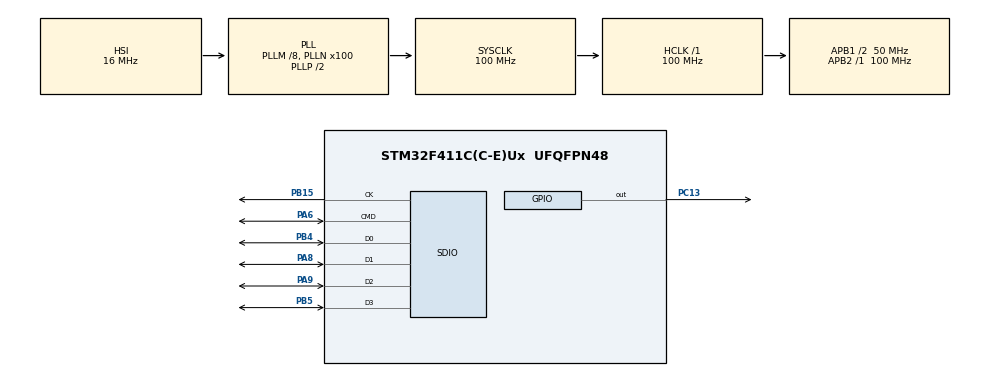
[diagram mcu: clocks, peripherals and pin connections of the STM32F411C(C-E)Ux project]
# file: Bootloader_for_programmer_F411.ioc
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Dma.Request0=SDIO_RX
Dma.Request1=SDIO_TX
Dma.SDIO_RX.0.Direction=DMA_PERIPH_TO_MEMORY
Dma.SDIO_RX.0.FIFOMode=DMA_FIFOMODE_ENABLE
Dma.SDIO_RX.0.FIFOThreshold=DMA_FIFO_THRESHOLD_FULL
Dma.SDIO_RX.0.Instance=DMA2_Stream3
Dma.SDIO_RX.0.MemBurst=DMA_MBURST_INC4
Dma.SDIO_RX.0.MemDataAlignment=DMA_MDATAALIGN_WORD
Dma.SDIO_RX.0.MemInc=DMA_MINC_ENABLE
Dma.SDIO_RX.0.Mode=DMA_PFCTRL
Dma.SDIO_RX.0.PeriphBurst=DMA_PBURST_INC4
Dma.SDIO_RX.0.PeriphDataAlignment=DMA_PDATAALIGN_WORD
Dma.SDIO_RX.0.PeriphInc=DMA_PINC_DISABLE
Dma.SDIO_RX.0.Priority=DMA_PRIORITY_HIGH
Dma.SDIO_TX.1.Direction=DMA_MEMORY_TO_PERIPH
Dma.SDIO_TX.1.FIFOMode=DMA_FIFOMODE_ENABLE
Dma.SDIO_TX.1.FIFOThreshold=DMA_FIFO_THRESHOLD_FULL
Dma.SDIO_TX.1.Instance=DMA2_Stream6
Dma.SDIO_TX.1.MemBurst=DMA_MBURST_INC4
Dma.SDIO_TX.1.MemDataAlignment=DMA_MDATAALIGN_WORD
Dma.SDIO_TX.1.MemInc=DMA_MINC_ENABLE
Dma.SDIO_TX.1.Mode=DMA_PFCTRL
Dma.SDIO_TX.1.PeriphBurst=DMA_PBURST_INC4
Dma.SDIO_TX.1.PeriphDataAlignment=DMA_PDATAALIGN_WORD
Dma.SDIO_TX.1.PeriphInc=DMA_PINC_DISABLE
Dma.SDIO_TX.1.Priority=DMA_PRIORITY_HIGH
FATFS._FS_RPATH=2
FATFS._MAX_SS=4096
FATFS._USE_LFN=2
Mcu.Family=STM32F4
Mcu.Name=STM32F411C(C-E)Ux
Mcu.Package=UFQFPN48
NVIC.DMA2_Stream3_IRQn=true\:0\:0\:false\:false\:true\:false\:true
NVIC.DMA2_Stream6_IRQn=true\:0\:0\:false\:false\:true\:false\:true
NVIC.PriorityGroup=NVIC_PRIORITYGROUP_4
NVIC.SDIO_IRQn=true\:0\:0\:false\:false\:true\:true\:true
PA13.Mode=Trace_Asynchronous_SW
PA13.Signal=SYS_JTMS-SWDIO
PA14.Mode=Trace_Asynchronous_SW
PA14.Signal=SYS_JTCK-SWCLK
PA6.GPIO_PuPd=GPIO_PULLUP
PA6.Mode=SD_4_bits_Wide_bus
PA6.Signal=SDIO_CMD
PA8.GPIO_PuPd=GPIO_PULLUP
PA8.Mode=SD_4_bits_Wide_bus
PA8.Signal=SDIO_D1
PA9.GPIO_PuPd=GPIO_PULLUP
PA9.Mode=SD_4_bits_Wide_bus
PA9.Signal=SDIO_D2
PB15.GPIO_PuPd=GPIO_PULLUP
PB15.Mode=SD_4_bits_Wide_bus
PB15.Signal=SDIO_CK
PB3.Mode=Trace_Asynchronous_SW
PB3.Signal=SYS_JTDO-SWO
PB4.GPIO_PuPd=GPIO_PULLUP
PB4.Mode=SD_4_bits_Wide_bus
PB4.Signal=SDIO_D0
PB5.GPIO_PuPd=GPIO_PULLUP
PB5.Mode=SD_4_bits_Wide_bus
PB5.Signal=SDIO_D3
PC13-ANTI_TAMP.PinState=GPIO_PIN_SET
PC13-ANTI_TAMP.Signal=GPIO_Output
PH0\ -\ OSC_IN.Mode=HSE-External-Oscillator
PH0\ -\ OSC_IN.Signal=RCC_OSC_IN
PH1\ -\ OSC_OUT.Mode=HSE-External-Oscillator
PH1\ -\ OSC_OUT.Signal=RCC_OSC_OUT
ProjectManager.HeapSize=0x200
ProjectManager.StackSize=0x400
ProjectManager.TargetToolchain=MDK-ARM V5.27
RCC.48MHZClocksFreq_Value=40000000
RCC.AHBFreq_Value=100000000
RCC.APB1CLKDivider=RCC_HCLK_DIV2
RCC.APB1Freq_Value=50000000
RCC.APB1TimFreq_Value=100000000
RCC.APB2Freq_Value=100000000
RCC.APB2TimFreq_Value=100000000
RCC.CortexFreq_Value=100000000
RCC.HCLKFreq_Value=100000000
RCC.HSE_VALUE=25000000
RCC.HSI_VALUE=16000000
RCC.LSE_VALUE=32768
RCC.PLLM=8
RCC.PLLN=100
RCC.PLLQ=5
RCC.SYSCLKFreq_VALUE=100000000
RCC.SYSCLKSource=RCC_SYSCLKSOURCE_PLLCLK
RCC.VCOOutputFreq_Value=200000000
SDIO.ClockDiv=8
VP_FATFS_VS_SDIO.Mode=SDIO
board=custom

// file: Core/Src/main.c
/* USER CODE BEGIN Header */
/**
  ******************************************************************************
  * @file           : main.c
  * @brief          : Main program body
  ******************************************************************************
  * @attention
  *
  * <h2><center>&copy; Copyright (c) 2021 STMicroelectronics.
  * All rights reserved.</center></h2>
  *
  * This software component is licensed by ST under Ultimate Liberty license
  * SLA0044, the "License"; You may not use this file except in compliance with
  * the License. You may obtain a copy of the License at:
  *                             www.st.com/SLA0044
  *
  ******************************************************************************
  */
/* USER CODE END Header */
#include "main.h"
#include "dma.h"
#include "fatfs.h"
#include "sdio.h"
#include "gpio.h"

/* USER CODE BEGIN Includes */
#include "stdio.h"
#include "firmware.h"
#include "string.h"
/* USER CODE END Includes */

/* USER CODE BEGIN PD */
#define FLASH_DISK_START_ADDRESS    0X08008000//адрес начала программы
/* USER CODE END PD */

/* USER CODE BEGIN PV */
static FATFS fileSystem;
static FRESULT res;
static DIR directory;
static FILINFO fileInfo;
//static FIL fil;

static _Bool g_upload = 0;// Наличие новой прошивки на Флешке.
static _Bool g_goto = 1; // Переход в основную прошивку.

/* USER CODE END PV */

void SystemClock_Config(void);

/* USER CODE BEGIN 0 */
//void jump_app( uint32_t address ) {
//   __ASM ("MSR MSP, R0\n"); // Load new stack pointer address
//		__ASM ("MSR PC, [R0, #4]\n");  //Load new program counter address;
//};
void branth(uint32_t);
/* USER CODE END 0 */

int main(void)
{

  /* MCU Configuration--------------------------------------------------------*/

  /* Reset of all peripherals, Initializes the Flash interface and the Systick. */
  HAL_Init();

  /* Configure the system clock */
  SystemClock_Config();

  /* Initialize all configured peripherals */
  MX_GPIO_Init();
  MX_DMA_Init();
  MX_SDIO_SD_Init();
  MX_FATFS_Init();
  /* USER CODE BEGIN 2 */

  res = f_mount ( &fileSystem, "0", 1 );
	//printf("res1 =%i",res );
  res = f_opendir ( &directory, "0:/Firmware" ); /* Открытие директории */
	//printf("res2 =%i",res );
  if ( res == FR_OK )
    {
      for ( ;; )
        {
          res = f_readdir ( &directory, &fileInfo ); /* Чтение объекта директории */
          //сравнение строк
          if ( strncmp ( "Programmer", fileInfo.fname, 10 ) ==0 )
            {
              g_upload =1;
              break;
            }
          if ( res != FR_OK || fileInfo.fname[0] == 0 )
            {
              break; // Останов цикла при ошибке или при достижении
            }
        }
    }

  if ( g_upload )
    {
      HAL_GPIO_WritePin ( GPIOC, GPIO_PIN_13, GPIO_PIN_RESET );
      if ( BOOTLOADER_UploadFirmware() ==0 )
        {
          //удаляем файл
          f_unlink ( "0:/Firmware/Programmer.hex" );
          g_goto =1;
        }
      else
        {
          g_goto =0;
        }
      HAL_GPIO_WritePin ( GPIOC, GPIO_PIN_13, GPIO_PIN_SET );
    }

//
//--------------------------------------------------------------------
  if ( g_goto==1 )
    {

	   uint32_t appJumpAddress;
	   void (*GoToApp)(void);

	   appJumpAddress = *((volatile uint32_t*)(FLASH_DISK_START_ADDRESS + 4));
	   GoToApp = (void (*)(void))appJumpAddress;

	    __disable_irq();

			HAL_RCC_DeInit();
      HAL_DeInit();

	   SCB->VTOR = FLASH_DISK_START_ADDRESS;
	    __enable_irq();

	    __set_MSP(*((volatile uint32_t*) FLASH_DISK_START_ADDRESS)); //stack pointer (to RAM) for USER app in this address
			SysTick->CTRL = 0;
			SysTick->LOAD = 0;
			SysTick->VAL = 0;
	   GoToApp();
    }
  /* USER CODE END 2 */

  /* Infinite loop */
  /* USER CODE BEGIN WHILE */
  while (1)
  {
		  HAL_GPIO_WritePin ( GPIOC, GPIO_PIN_13, GPIO_PIN_RESET );
      HAL_Delay ( 1000 );
      HAL_GPIO_WritePin ( GPIOC, GPIO_PIN_13, GPIO_PIN_SET );
      HAL_Delay ( 1500 );
      HAL_GPIO_WritePin ( GPIOC, GPIO_PIN_13, GPIO_PIN_RESET );
      HAL_Delay ( 300 );
      HAL_GPIO_WritePin ( GPIOC, GPIO_PIN_13, GPIO_PIN_SET );
      HAL_Delay ( 600 );
    /* USER CODE END WHILE */

    /* USER CODE BEGIN 3 */
  }
//  /* USER CODE END 3 */
}

void SystemClock_Config(void)
{
  RCC_OscInitTypeDef RCC_OscInitStruct = {0};
  RCC_ClkInitTypeDef RCC_ClkInitStruct = {0};

  /** Configure the main internal regulator output voltage
  */
  __HAL_RCC_PWR_CLK_ENABLE();
  __HAL_PWR_VOLTAGESCALING_CONFIG(PWR_REGULATOR_VOLTAGE_SCALE1);
  /** Initializes the RCC Oscillators according to the specified parameters
  * in the RCC_OscInitTypeDef structure.
  */
  RCC_OscInitStruct.OscillatorType = RCC_OSCILLATORTYPE_HSI;
  RCC_OscInitStruct.HSIState = RCC_HSI_ON;
  RCC_OscInitStruct.HSICalibrationValue = RCC_HSICALIBRATION_DEFAULT;
  RCC_OscInitStruct.PLL.PLLState = RCC_PLL_ON;
  RCC_OscInitStruct.PLL.PLLSource = RCC_PLLSOURCE_HSI;
  RCC_OscInitStruct.PLL.PLLM = 8;
  RCC_OscInitStruct.PLL.PLLN = 100;
  RCC_OscInitStruct.PLL.PLLP = RCC_PLLP_DIV2;
  RCC_OscInitStruct.PLL.PLLQ = 5;
  if (HAL_RCC_OscConfig(&RCC_OscInitStruct) != HAL_OK)
  {
    Error_Handler();
  }
  /** Initializes the CPU, AHB and APB buses clocks
  */
  RCC_ClkInitStruct.ClockType = RCC_CLOCKTYPE_HCLK|RCC_CLOCKTYPE_SYSCLK
                              |RCC_CLOCKTYPE_PCLK1|RCC_CLOCKTYPE_PCLK2;
  RCC_ClkInitStruct.SYSCLKSource = RCC_SYSCLKSOURCE_PLLCLK;
  RCC_ClkInitStruct.AHBCLKDivider = RCC_SYSCLK_DIV1;
  RCC_ClkInitStruct.APB1CLKDivider = RCC_HCLK_DIV2;
  RCC_ClkInitStruct.APB2CLKDivider = RCC_HCLK_DIV1;

  if (HAL_RCC_ClockConfig(&RCC_ClkInitStruct, FLASH_LATENCY_3) != HAL_OK)
  {
    Error_Handler();
  }
}

void Error_Handler(void)
{
  __disable_irq();
  while (1)
  {
  }
}

/************************ (C) COPYRIGHT STMicroelectronics *****END OF FILE****/
